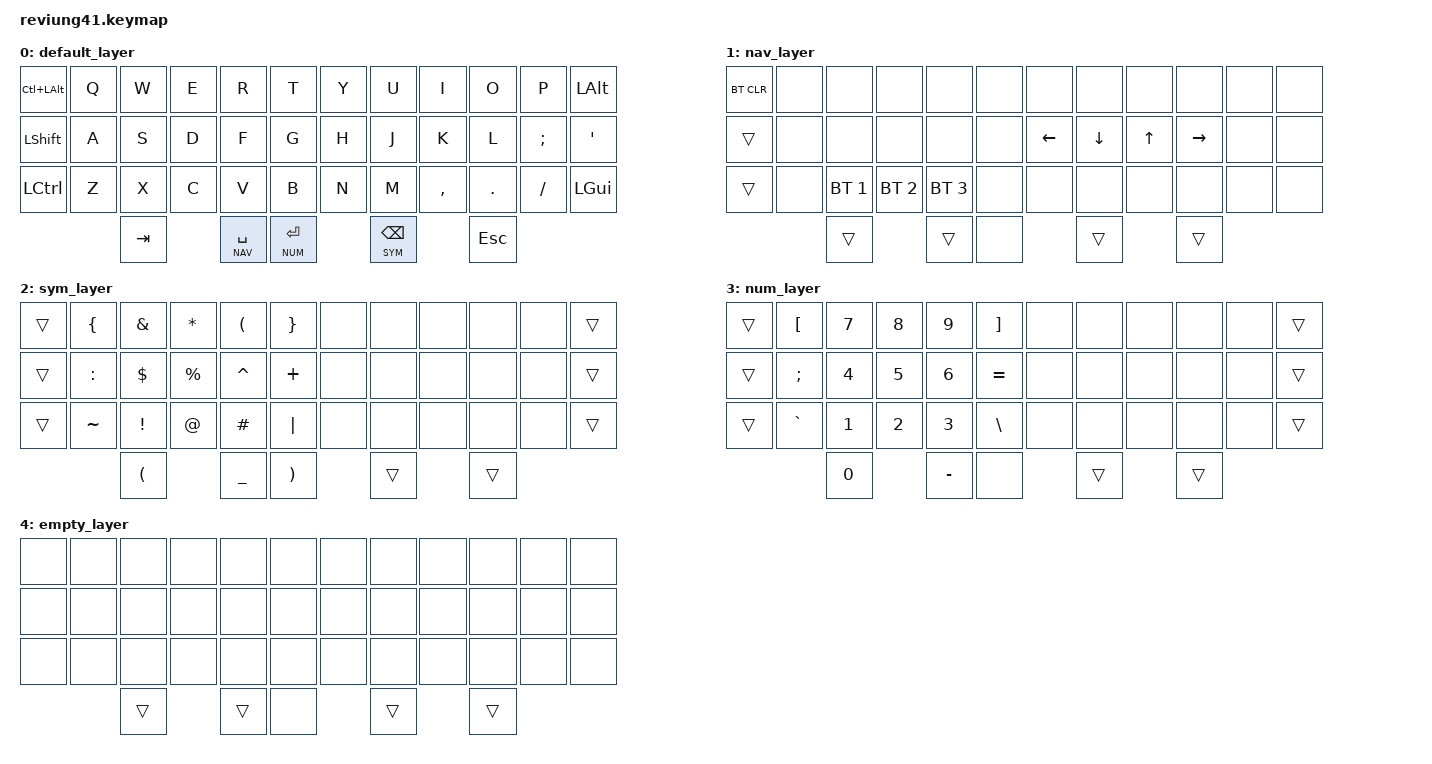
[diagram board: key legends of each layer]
/*
 * Copyright (c) 2020 The ZMK Contributors
 *
 * SPDX-License-Identifier: MIT
 */

#include <behaviors.dtsi>
#include <dt-bindings/zmk/keys.h>
#include <dt-bindings/zmk/bt.h>
#include <dt-bindings/zmk/rgb.h>

#define NAV 1
#define SYM 2
#define NUM 3

/ {
        keymap {
                compatible = "zmk,keymap";

                default_layer {
// -------------------------------------------------------------------------------------
// |  TAB |  Q  |  W  |  E  |  R  |  T  |   |  Y  |  U   |  I  |  O  |  P  |   BKSP    |
// | CTRL |  A  |  S  |  D  |  F  |  G  |   |  H  |  J   |  K  |  L  |  ;  |    '      |
// | SHFT |  Z  |  X  |  C  |  V  |  B  |   |  N  |  M   |  ,  |  .  |  /  |   LGUI    |
//                         | ALT | LWR | SPC | RSE  | ALT |
                        bindings = <
   &kp LC(LALT)  &kp Q &kp W &kp E &kp R &kp T       &kp Y &kp U  &kp I     &kp O   &kp P    &kp LALT
   &kp LSHFT     &kp A &kp S &kp D &kp F &kp G       &kp H &kp J  &kp K     &kp L   &kp SEMI &kp SQT
   &kp LCTRL     &kp Z &kp X &kp C &kp V &kp B       &kp N &kp M  &kp COMMA &kp DOT &kp FSLH &kp LGUI
                        &kp TAB  &lt NAV SPACE &lt NUM RET &lt SYM BSPC &kp ESC
                        >;
                };
                
                nav_layer {
// -----------------------------------------------------------------------------------------
// | RGB BRI+ | RGB SAT+ | RGB HUE+ | RGB ANI+ |    | RGB TOG |   |  BT1  | BT2 | BT3 | BT4 | BT5 | BT CLR |
// | RGB BRI- | RGB SAT- | RGB HUE- | RGB ANI+ |    |         |   |       |     |     |     |     |        |
// |          |          |          |          |    |         |   | RESET |     |     |     |     |        |
//                                              |     |     |     |     |     |
                        bindings = <
   &bt BT_CLR    &none    &none        &none          &none &none  &none &none &none &none &none &none
   &trans        &none    &none        &none          &none &none  &kp LEFT &kp DOWN &kp UP &kp RIGHT &none &none
   &trans        &none    &bt BT_SEL 1 &bt BT_SEL 2   &bt BT_SEL 3 &none  &none &none &none &none &none &none
            &trans      &trans       &none        &trans      &trans
                        >;
                };
                
                sym_layer {
// ——————————————————————————————
// | RGB BRI+ | RGB SAT+ | RGB HUE+ | RGB ANI+ |    | RGB TOG |   |  BT1  | BT2 | BT3 | BT4 | BT5 | BT CLR |
// | RGB BRI- | RGB SAT- | RGB HUE- | RGB ANI+ |    |         |   |       |     |     |     |     |        |
// |          |          |          |          |    |         |   | RESET |     |     |     |     |        |
//                                              |     |     |     |     |     |
                        bindings = <
   &trans &kp LBRC   &kp AMPS  &kp STAR   &kp LPAR   &kp RBRC     &none  &none  &none  &none  &none  &trans
   &trans &kp COLON  &kp DLLR  &kp PRCNT  &kp CARET  &kp PLUS     &none  &none  &none  &none  &none  &trans
   &trans &kp TILDE  &kp EXCL  &kp AT     &kp HASH   &kp PIPE     &none  &none  &none  &none  &none  &trans
                  &kp LPAR      &kp UNDER       &kp RPAR        &trans      &trans
                        >;
                };
                
                num_layer {
// ——————————————————————————————
// | RGB BRI+ | RGB SAT+ | RGB HUE+ | RGB ANI+ |    | RGB TOG |   |  BT1  | BT2 | BT3 | BT4 | BT5 | BT CLR |
// | RGB BRI- | RGB SAT- | RGB HUE- | RGB ANI+ |    |         |   |       |     |     |     |     |        |
// |          |          |          |          |    |         |   | RESET |     |     |     |     |        |
//                                              |     |     |     |     |     |
                        bindings = <
   &trans &kp LBKT   &kp N7  &kp N8  &kp N9  &kp RBKT     &none  &none  &none  &none  &none  &trans
   &trans &kp SEMI   &kp N4  &kp N5  &kp N6  &kp EQUAL    &none  &none  &none  &none  &none  &trans
   &trans &kp GRAVE  &kp N1  &kp N2  &kp N3  &kp BSLH     &none  &none  &none  &none  &none  &trans
                  &kp N0      &kp MINUS       &none        &trans      &trans
                        >;
                };
                                empty_layer {
// ——————————————————————————————
// | RGB BRI+ | RGB SAT+ | RGB HUE+ | RGB ANI+ |    | RGB TOG |   |  BT1  | BT2 | BT3 | BT4 | BT5 | BT CLR |
// | RGB BRI- | RGB SAT- | RGB HUE- | RGB ANI+ |    |         |   |       |     |     |     |     |        |
// |          |          |          |          |    |         |   | RESET |     |     |     |     |        |
//                                              |     |     |     |     |     |
                        bindings = <
   &none  &none  &none  &none  &none  &none     &none  &none  &none  &none  &none  &none
   &none  &none  &none  &none  &none  &none     &none  &none  &none  &none  &none  &none
   &none  &none  &none  &none  &none  &none     &none  &none  &none  &none  &none  &none
                  &trans      &trans       &none        &trans      &trans
                        >;
                };

        };
};
